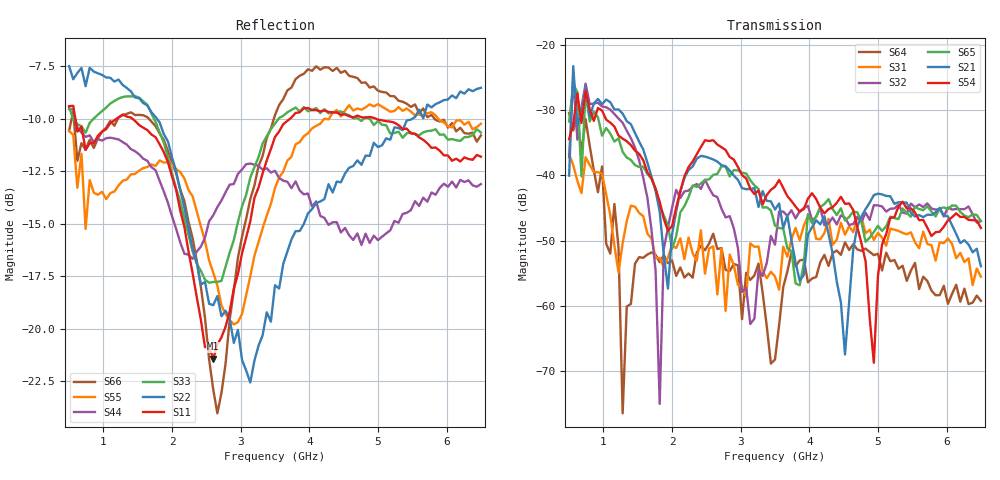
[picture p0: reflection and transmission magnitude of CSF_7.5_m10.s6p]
!Keysight Technologies,M9804A,MY58100912,A.14.10.03
!Date: Thursday, April 27, 2023 10:28:33
!Correction: S11(C  6-Port  )
!S12(C  6-Port  )
!S13(C  6-Port  )
!S14(C  6-Port  )
!S15(C  6-Port  )
!S16(C  6-Port  )
!S21(C  6-Port  )
!S22(C  6-Port  )
!S23(C  6-Port  )
!S24(C  6-Port  )
!S25(C  6-Port  )
!S26(C  6-Port  )
!S31(C  6-Port  )
!S32(C  6-Port  )
!S33(C  6-Port  )
!S34(C  6-Port  )
!S35(C  6-Port  )
!S36(C  6-Port  )
!S41(C  6-Port  )
!S42(C  6-Port  )
!S43(C  6-Port  )
!S44(C  6-Port  )
!S45(C  6-Port  )
!S46(C  6-Port  )
!S51(C  6-Port  )
!S52(C  6-Port  )
!S53(C  6-Port  )
!S54(C  6-Port  )
!S55(C  6-Port  )
!S56(C  6-Port  )
!S61(C  6-Port  )
!S62(C  6-Port  )
!S63(C  6-Port  )
!S64(C  6-Port  )
!S65(C  6-Port  )
!S66(C  6-Port  )
!S6P File: Measurement: :
# Hz S  RI  R 50
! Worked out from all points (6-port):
!   101 points, 500 MHz to 6.5 GHz, reference 50 ohm
!   strongest paths, dB at 500 MHz, 2 GHz, 3.5 GHz, 5 GHz, 6.5 GHz:
!     S54: -34.5, -47.7, -41.7, -55.4, -48.1
!     S21: -40.1, -49.0, -45.2, -42.8, -53.9
!     S65: -31.8, -51.3, -47.7, -47.7, -47.0
!     S32: -37.2, -45.0, -50.6, -44.6, -47.0
!     S31: -36.8, -50.7, -55.5, -48.8, -55.5
!     S64: -30.5, -53.0, -68.2, -52.0, -59.2
!   lowest |S11| = -21.4 dB at 2.6 GHz (marker M1), VSWR 1.19, Z = 42.5 + j2.23 ohm
!   |S11| at or under -10 dB: 590.4 MHz to 1.189 GHz (598.3 MHz wide, 67.3 % of centre); 1.424 GHz to 3.715 GHz (2.291 GHz wide, 89.1 % of centre); 4.976 GHz to end of sweep
